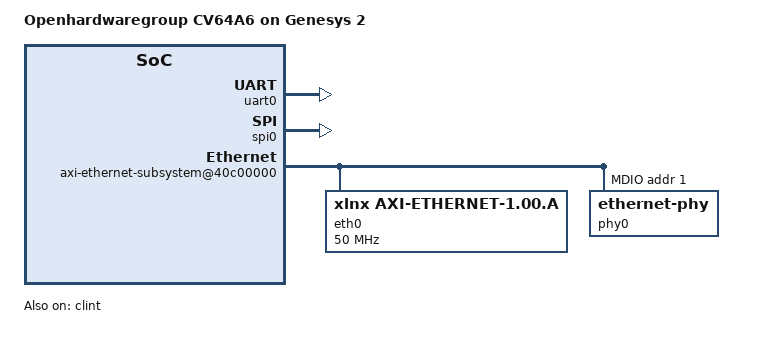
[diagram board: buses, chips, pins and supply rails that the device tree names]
/*
 * Copyright (c) 2024 CISPA Helmholtz Center for Information Security gGmbH
 *
 * SPDX-License-Identifier: Apache-2.0
 */
/dts-v1/;

#include <openhwgroup/cv64a6.dtsi>

/ {
	model = "Openhardwaregroup CV64A6 on Genesys 2";
	compatible = "ariane,cv64a6_genesys_2";

	chosen {
		zephyr,console = &uart0;
		zephyr,shell-uart = &uart0;
		zephyr,sram = &memory0;
	};
};

&uart0 {
	status = "okay";
};

&spi0 {
	status = "okay";
};

&clint{
	status = "okay";
};

&dma0 {
	status = "okay";
};

&eth {
	status = "disabled";
};

&xlnx_gpio {
	status = "okay";
};

&{/soc} {
	/*
     * Only on CISPA fork of the project.
     */
	axi-ethernet-subsystem@40c00000 {

	    reg = <0x40c00000 0x40000>;
	    compatible = "xlnx,axi-ethernet-subsystem-1.00.a";

	    eth0: ethernet-mac{
			axistream-connected = <&dma0>;
			axistream-control-connected = <&dma0>;
			clock-frequency = <50000000>;
			compatible = "xlnx,axi-ethernet-1.00.a";
			device_type = "network";
			local-mac-address = [00 0a 35 00 00 00];

			// full checksum offloading
			xlnx,rxcsum = <0x2>;
			xlnx,txcsum = <0x2>;

			interrupt-parent = <&plic>;
			interrupts = <13 4>;

			status="okay";
			phy-handle=<&phy0>;
	    };

	    mdio0: mdio {
			compatible = "xlnx,axi-ethernet-1.00.a-mdio";
			#address-cells = <1>;
			#size-cells = <0>;

			clock-frequency = <50000000>;

			phy0: phy@1 {
				#address-cells = <1>;
				#size-cells = <0>;
				compatible = "ethernet-phy";
				reg = <1 1>;
				status="okay";
			};

			status="okay";
	    };

		status="okay";

	};
};
